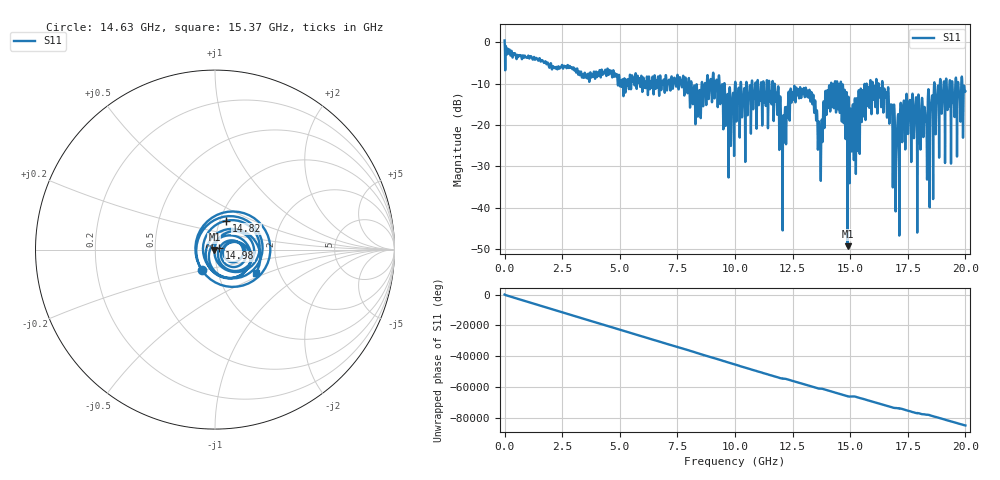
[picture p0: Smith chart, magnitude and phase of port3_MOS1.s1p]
! MS46122B
! 2250307/22442219
! 7/23/2025 1:09:10 PM
! C:\USERS\SPARKY\DOCUMENTS\VNA_DATA\JULY23_2025\295K\PORT3_MOS1.S1P
! CHANNEL.1
! TR.MEASUREMENT
! RAW.DATA
# GHZ S RI R 50.0
! FREQ.GHZ  S11RE  S11IM
!; PortSelection: Port_1
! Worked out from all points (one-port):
!   10001 points, 1 MHz to 20 GHz, reference 50 ohm
!   lowest |S11| = -49.3 dB at 14.89 GHz (marker M1), VSWR 1.01, Z = 49.7 - j0.125 ohm
!   |S11| at or under -10 dB: 11.65 GHz to 14.17 GHz (2.524 GHz wide, 19.6 % of centre); 14.6 GHz to 15.86 GHz (1.26 GHz wide, 8.27 % of centre); 16.41 GHz to 18.64 GHz (2.238 GHz wide, 12.8 % of centre) (the widest 3 of 71)
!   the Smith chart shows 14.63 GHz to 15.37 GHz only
!   S11 on the Smith chart (normalised r, x): 14.63 GHz: 0.84, -0.20; 14.82 GHz: 1.07, +0.35; 14.98 GHz: 1.05, +0.02; 15.37 GHz: 1.52, -0.42
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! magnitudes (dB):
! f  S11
! 1 MHz  0.4
! 2.501 GHz  -5.6
! 5.001 GHz  -10.3
! 7.501 GHz  -7.9
! 8.447 GHz  -11.9
! 9.125 GHz  -12.1
! 10 GHz  -10.1
! 11.56 GHz  -11.9
! 11.8 GHz  -12.5
! 12.13 GHz  -22.8
! 12.5 GHz  -12.1
! 13.31 GHz  -12.0
! 13.68 GHz  -25.3
! 14.01 GHz  -11.6
! 14.63 GHz  -17.4
! 14.82 GHz  -15.3
! 14.89 GHz  -49.3
! 14.98 GHz  -32.1
! 15 GHz  -17.2
! 15.37 GHz  -11.6
! 16.47 GHz  -12.2
! 16.72 GHz  -15.9
! 17.05 GHz  -20.1
! 17.26 GHz  -24.1
! 17.5 GHz  -21.1
! 18.26 GHz  -17.9
! 18.99 GHz  -15.3
! 20 GHz  -11.9
